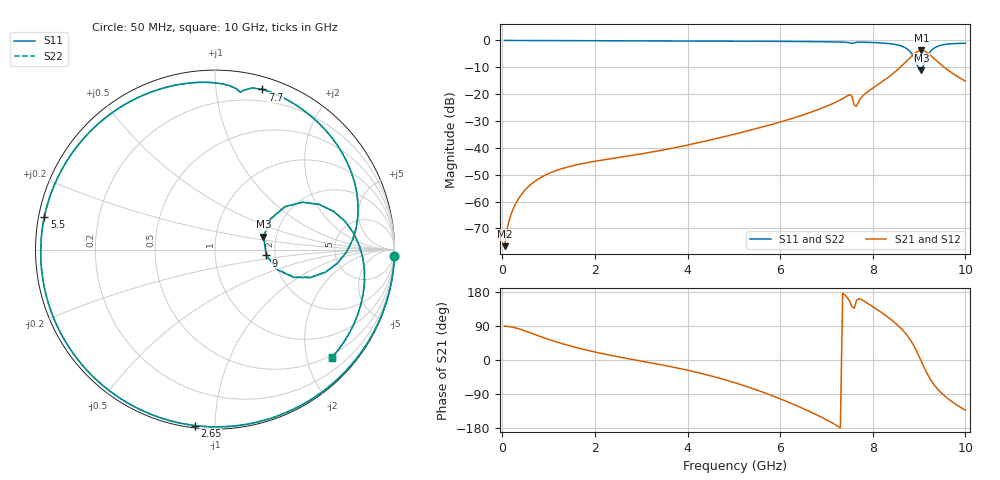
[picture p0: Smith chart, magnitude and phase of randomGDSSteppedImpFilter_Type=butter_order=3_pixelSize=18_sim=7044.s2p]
! freq	dB(S11)	phase(S11)	dB(S12)	phase(S12)
!  dB(S21)	phase(S21)	dB(S22)	phase(S22)
!S-par simulation data
#  GHz  S  DB  R 50
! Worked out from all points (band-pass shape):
!   200 points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, 50 MHz to 10 GHz, reference 50 ohm
!   highest |S21| = -3.72 dB at 9.05 GHz (marker M1); lowest = -76.6 dB at 50 MHz (marker M2)
!   |S21| within 3 dB of the highest: 8.788 GHz to 9.323 GHz (534.9 MHz wide, 5.91 % of centre)
!   lowest |S11| = -11.1 dB at 9.05 GHz (marker M3), VSWR 1.78, Z = 85.7 + j13.4 ohm
!   |S11| at or under -10 dB: 8.981 GHz to 9.076 GHz (95.8 MHz wide, 1.06 % of centre)
!   |S22| runs from -11.0 to 0.0 dB; largest |S21 - S12| = 0
!   S11 on the Smith chart (normalised r, x): 50 MHz: 0, -59; 2.65 GHz: 0.01, -0.89; 5.5 GHz: 0.02, +0.09; 7.7 GHz: 0.10, +1.33; 9 GHz: 1.79, -0.13; 10 GHz: 0.44, -2.49
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0.05  -0.00 -1.9  -76.61 89.5  -76.61 89.5  -0.00 -1.9
0.1  -0.00 -3.9  -70.52 89.0  -70.52 89.0  -0.00 -3.9
0.2  -0.00 -7.7  -64.25 87.1  -64.25 87.1  -0.00 -7.7
0.5  -0.02 -19.3  -55.57 76.4  -55.57 76.4  -0.02 -19.3
1  -0.05 -38.2  -49.56 54.5  -49.56 54.5  -0.05 -38.2
1.75  -0.08 -65.5  -45.80 28.1  -45.80 28.1  -0.08 -65.5
2.65  -0.12 -96.6  -43.21 5.0  -43.21 5.0  -0.12 -96.6
3.4  -0.15 -121.4  -41.02 -12.0  -41.02 -12.0  -0.15 -121.4
5.05  -0.25 -175.2  -34.75 -61.1  -34.75 -61.1  -0.25 -175.2
5.5  -0.28 169.2  -32.76 -79.4  -32.76 -79.4  -0.28 169.2
6.7  -0.43 121.9  -26.51 -139.6  -26.51 -139.6  -0.43 121.9
7.5  -0.87 82.4  -20.23 155.3  -20.23 155.3  -0.88 82.5
7.6  -0.90 79.9  -24.12 136.6  -24.12 136.6  -0.91 80.0
7.7  -0.62 73.5  -22.61 161.9  -22.61 161.9  -0.62 73.5
8.35  -1.17 29.7  -13.51 111.0  -13.51 111.0  -1.17 29.8
8.6  -1.99 8.6  -9.89 84.7  -9.89 84.7  -1.98 8.7
8.8  -4.04 -11.6  -6.50 55.1  -6.50 55.1  -4.03 -11.4
9  -10.83 -6.5  -3.86 9.6  -3.86 9.6  -10.77 -6.3
9.05  -11.07 14.9  -3.72 -4.0  -3.72 -4.0  -11.01 14.9
9.2  -5.14 28.5  -4.87 -41.8  -4.87 -41.8  -5.13 28.4
9.45  -1.88 1.5  -8.68 -83.2  -8.68 -83.2  -1.88 1.6
10  -1.04 -42.8  -15.16 -132.5  -15.16 -132.5  -1.04 -42.6
